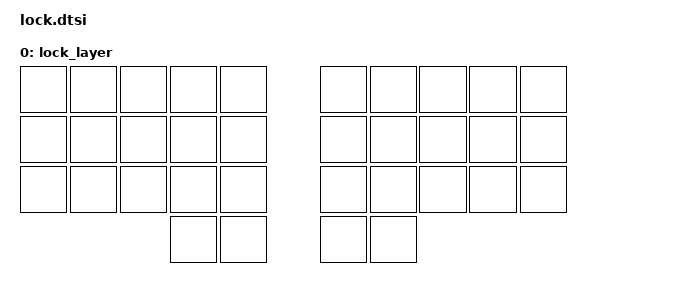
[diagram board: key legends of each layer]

/*           34 Keys
╭──────────────╮ ╭──────────────╮
│ 0  1  2  3  4│ │ 5  6  7  8  9│
│10 11 12 13 14│ │15 16 17 18 19│
│20 21 22 23 24│ │25 26 27 28 29│
╰────────╮30 31│ │32 33╭────────╯
         ╰─────╯ ╰─────╯         */

// un-/lock keyboard
// COMBO_LAYER(lock, &tog LCK, 20 29 30 33, NORMAL_LAYERS LOCK_LAYER)
COMBO_LAYER(lock_kb, &tog LCK, LMR RMR, FUN LCK)
COMBO_LAYER(sleep, &kp C_SLEEP_MODE, LMII RMII, FUN LCK)
COMBO_LAYER(lock_pc, &kp K_POWER, LMIO RMIO, FUN LCK)

/ {
    keymap {
        compatible = "zmk,keymap";
                lock_layer {
// ---------------------------------------------------------------
// |     |     |     |     |     | |     |     |     |     |     |
// |     |     |     |     |     | |     |     |     |     |     |
// |     |     |     |     |     | |     |     |     |     |     |
//                   |     |     | |     |     |     |     |     |
                        bindings = <
//┌───────┬───────┬───────┬───────┬───────┐ ┌──────┬──────┬───────┬──────┬───────┐
    &none   &none   &none   &none   &none    &none  &none   &none   &none  &none 
//├───────┼───────┼───────┼───────┼───────┤ ├──────┼──────┼───────┼──────┼───────┤
    &none   &none   &none   &none   &none    &none  &none   &none   &none  &none 
//├───────┼───────┼───────┼───────┼───────┤ ├──────┼──────┼───────┼──────┼───────┤
    &none   &none   &none   &none   &none    &none  &none   &none   &none  &none 
//└───────┴───────┴───────┴───────┴───────┘ └──────┴──────┴───────┴──────┴───────┘
                            &none   &none    &none  &none
//                        └───────┴───────┘ └──────┴──────┘                        
                        >;
                };
        };
};
